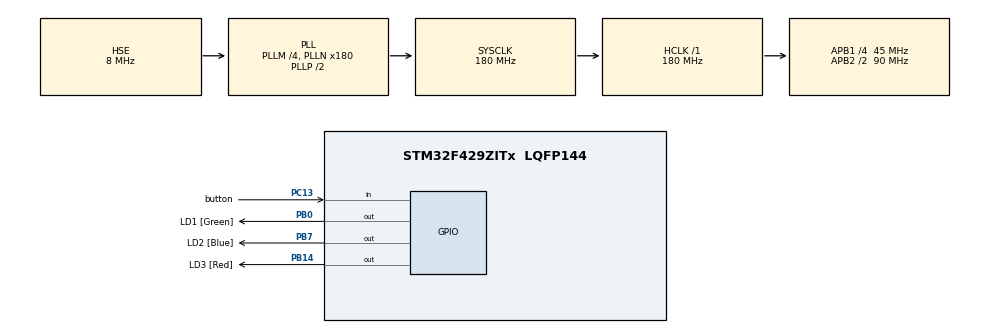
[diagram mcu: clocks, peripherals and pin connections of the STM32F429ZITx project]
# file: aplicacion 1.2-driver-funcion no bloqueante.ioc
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Mcu.Family=STM32F4
Mcu.Name=STM32F429ZITx
Mcu.Package=LQFP144
NVIC.PriorityGroup=NVIC_PRIORITYGROUP_4
PB0.GPIO_Label=LD1 [Green]
PB0.Signal=GPIO_Output
PB14.GPIO_Label=LD3 [Red]
PB14.Signal=GPIO_Output
PB7.GPIO_Label=LD2 [Blue]
PB7.Signal=GPIO_Output
PC13.GPIO_Label=button
PC13.Signal=GPIO_Input
PH0/OSC_IN.GPIO_Label=MCO [STM32F103CBT6_PA8]
PH0/OSC_IN.Mode=HSE-External-Oscillator
PH0/OSC_IN.Signal=RCC_OSC_IN
PH1/OSC_OUT.Mode=HSE-External-Oscillator
PH1/OSC_OUT.Signal=RCC_OSC_OUT
ProjectManager.HeapSize=0x200
ProjectManager.StackSize=0x400
ProjectManager.TargetToolchain=STM32CubeIDE
RCC.48MHZClocksFreq_Value=51428571.428571425
RCC.AHBFreq_Value=180000000
RCC.APB1CLKDivider=RCC_HCLK_DIV4
RCC.APB1Freq_Value=45000000
RCC.APB1TimFreq_Value=90000000
RCC.APB2CLKDivider=RCC_HCLK_DIV2
RCC.APB2Freq_Value=90000000
RCC.APB2TimFreq_Value=180000000
RCC.CortexFreq_Value=180000000
RCC.HCLKFreq_Value=180000000
RCC.HSE_VALUE=8000000
RCC.HSI_VALUE=16000000
RCC.PLLM=4
RCC.PLLMUL=RCC_PLL_MUL9
RCC.PLLN=180
RCC.PLLQ=7
RCC.PLLSourceVirtual=RCC_PLLSOURCE_HSE
RCC.PRESCALERUSB=RCC_USBCLKSOURCE_PLL_DIV1_5
RCC.SYSCLKFreq_VALUE=180000000
RCC.SYSCLKSource=RCC_SYSCLKSOURCE_PLLCLK
RCC.SYSCLKSourceVirtual=RCC_SYSCLKSOURCE_PLLCLK
RCC.USBFreq_Value=48000000
RCC.VCOOutputFreq_Value=360000000
board=NUCLEO-F429ZI

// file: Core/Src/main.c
/* USER CODE BEGIN Header */
/**
  ******************************************************************************
  * @file           : main.c
  * @brief          : Main program body
  ******************************************************************************
  * @attention
  *
  * Copyright (c) 2026 STMicroelectronics.
  * All rights reserved.
  *
  * This software is licensed under terms that can be found in the LICENSE file
  * in the root directory of this software component.
  * If no LICENSE file comes with this software, it is provided AS-IS.
  *
  ******************************************************************************
  */
/* USER CODE END Header */
#include "main.h"
#include "string.h"
#include <stdbool.h>
/* USER CODE BEGIN Includes */
#include "API_GPIO.h"
#include "API_Delay.h"
/* USER CODE END Includes */

/* USER CODE BEGIN PTD */
typedef enum {
    ESTADO_LED1_ON,  // LED1 encendido
    ESTADO_LED2_ON,  // LED2 encendido
    ESTADO_LED3_ON   // LED3 encendido
} estadoSecuencia_t;

/* USER CODE END PTD */

/* USER CODE BEGIN PD */
#define LED1 LD1_Pin //led verde
#define LED2 LD2_Pin //led azul
#define LED3 LD3_Pin // led rojo
/* USER CODE END PD */

/* USER CODE BEGIN PV */
led_t LEDS[] = {LED1, LED2, LED3};
estadoSecuencia_t estadoActual = ESTADO_LED1_ON;
delay_t pasoDelay;
/* USER CODE END PV */

void SystemClock_Config(void);

int main(void)
{

  /* MCU Configuration--------------------------------------------------------*/

  /* Reset of all peripherals, Initializes the Flash interface and the Systick. */
  HAL_Init();

  /* Configure the system clock */
  SystemClock_Config();

  /* Initialize all configured peripherals */
  MX_GPIO_Init();

  /* USER CODE BEGIN 2 */
  delayInit(&pasoDelay, 200);

  /* USER CODE END 2 */

  /* Infinite loop */
  while (1)
  {

    /* USER CODE BEGIN 3 */
	  Boton_GPIO();

	      if (estado == false) {
	          //-------Secuencia directa (0, 1, 2)------//
	    	  if (delayRead(&pasoDelay)) {

	    	 		  //-------LEDS APAGADOS------//
	    	 		  LEDapagado_GPIO(LEDS[0]);
	    	 		  LEDapagado_GPIO(LEDS[1]);
	    	 		  LEDapagado_GPIO(LEDS[2]);
	    	 	      //--------------------------//

	    	 	      switch (estadoActual) {
	    	 	          case ESTADO_LED1_ON:
	    	 	        	  LEDencendido_GPIO(LEDS[0]);
	    	 	              estadoActual = ESTADO_LED2_ON;
	    	 	              break;

	    	 	          case ESTADO_LED2_ON:
	    	 	        	  LEDencendido_GPIO(LEDS[1]);
	    	 	              estadoActual = ESTADO_LED3_ON;
	    	 	              break;

	    	 	          case ESTADO_LED3_ON:
	    	 	              LEDencendido_GPIO(LEDS[2]);
	    	 	              estadoActual = ESTADO_LED1_ON;
	    	 	              break;
	    	 	      }
	    	 	  }
	      }
	      else {
	          //----------Secuencia inversa (2, 1, 0)---------//

	    	  if (delayRead(&pasoDelay)) {

	    	 		  //-------LEDS APAGADOS------//
	    	 		  LEDapagado_GPIO(LEDS[0]);
	    	 		  LEDapagado_GPIO(LEDS[1]);
	    	 		  LEDapagado_GPIO(LEDS[2]);
	    	 	      //--------------------------//

	    	 	      switch (estadoActual) {
	    	 	          case ESTADO_LED1_ON:
	    	 	        	  LEDencendido_GPIO(LEDS[2]);
	    	 	              estadoActual = ESTADO_LED2_ON;
	    	 	              break;

	    	 	          case ESTADO_LED2_ON:
	    	 	        	  LEDencendido_GPIO(LEDS[1]);
	    	 	              estadoActual = ESTADO_LED3_ON;
	    	 	              break;

	    	 	          case ESTADO_LED3_ON:
	    	 	              LEDencendido_GPIO(LEDS[0]);
	    	 	              estadoActual = ESTADO_LED1_ON;
	    	 	              break;
	    	 	      }
	    	 	  }
	      }

  }
  /* USER CODE END 3 */
}

void SystemClock_Config(void)
{
  RCC_OscInitTypeDef RCC_OscInitStruct = {0};
  RCC_ClkInitTypeDef RCC_ClkInitStruct = {0};

  __HAL_RCC_PWR_CLK_ENABLE();
  __HAL_PWR_VOLTAGESCALING_CONFIG(PWR_REGULATOR_VOLTAGE_SCALE1);

  RCC_OscInitStruct.OscillatorType = RCC_OSCILLATORTYPE_HSE;
  RCC_OscInitStruct.HSEState = RCC_HSE_ON;
  RCC_OscInitStruct.PLL.PLLState = RCC_PLL_ON;
  RCC_OscInitStruct.PLL.PLLSource = RCC_PLLSOURCE_HSE;
  RCC_OscInitStruct.PLL.PLLM = 4;
  RCC_OscInitStruct.PLL.PLLN = 180;
  RCC_OscInitStruct.PLL.PLLP = RCC_PLLP_DIV2;
  RCC_OscInitStruct.PLL.PLLQ = 7;
  if (HAL_RCC_OscConfig(&RCC_OscInitStruct) != HAL_OK)
  {
    Error_Handler();
  }

  if (HAL_PWREx_EnableOverDrive() != HAL_OK)
  {
    Error_Handler();
  }

  RCC_ClkInitStruct.ClockType = RCC_CLOCKTYPE_HCLK|RCC_CLOCKTYPE_SYSCLK
                              |RCC_CLOCKTYPE_PCLK1|RCC_CLOCKTYPE_PCLK2;
  RCC_ClkInitStruct.SYSCLKSource = RCC_SYSCLKSOURCE_PLLCLK;
  RCC_ClkInitStruct.AHBCLKDivider = RCC_SYSCLK_DIV1;
  RCC_ClkInitStruct.APB1CLKDivider = RCC_HCLK_DIV4;
  RCC_ClkInitStruct.APB2CLKDivider = RCC_HCLK_DIV2;

  if (HAL_RCC_ClockConfig(&RCC_ClkInitStruct, FLASH_LATENCY_5) != HAL_OK)
  {
    Error_Handler();
  }
}

void Error_Handler(void)
{
  __disable_irq();
  while (1)
  {
  }
}
